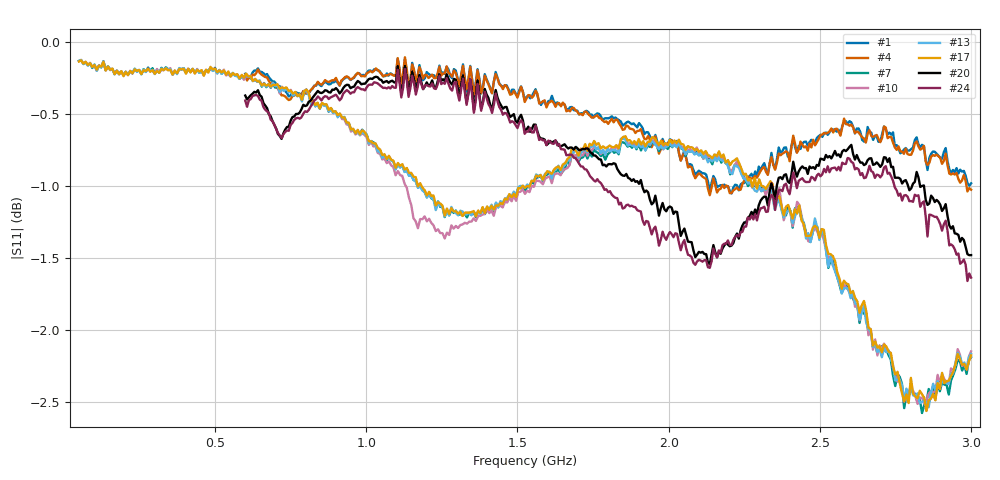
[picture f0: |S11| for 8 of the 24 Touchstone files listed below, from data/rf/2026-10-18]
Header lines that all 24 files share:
! NanoVNA-F_V2 fw 0.6.0 SN 4A3639384505514B
! points 401, avg 4
# HZ S RI R 50
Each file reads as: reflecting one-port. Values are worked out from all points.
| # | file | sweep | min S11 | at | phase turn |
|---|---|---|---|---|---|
| 1 | air_1.s1p | 600 MHz to 3 GHz | -1.1 dB | 2.208 GHz | -694 deg |
| 2 | air_2.s1p | 600 MHz to 3 GHz | -1.0 dB | 2.202 GHz | -693 deg |
| 3 | air_3.s1p | 600 MHz to 3 GHz | -1.0 dB | 2.208 GHz | -693 deg |
| 4 | air_4.s1p | 600 MHz to 3 GHz | -1.1 dB | 2.136 GHz | -693 deg |
| 5 | h5_air_1.s1p | 50 MHz to 3 GHz | -2.6 dB | 2.838 GHz | -771 deg |
| 6 | h5_air_2.s1p | 50 MHz to 3 GHz | -2.5 dB | 2.838 GHz | -770 deg |
| 7 | h5_air_3.s1p | 50 MHz to 3 GHz | -2.6 dB | 2.838 GHz | -770 deg |
| 8 | h5_nanox_tamp_A_1.s1p | 50 MHz to 3 GHz | -2.5 dB | 2.838 GHz | -771 deg |
| 9 | h5_nanox_tamp_A_2.s1p | 50 MHz to 3 GHz | -2.5 dB | 2.845 GHz | -771 deg |
| 10 | h5_nanox_tamp_A_3.s1p | 50 MHz to 3 GHz | -2.5 dB | 2.823 GHz | -771 deg |
| 11 | h5_nanox_tamp_A_4.s1p | 50 MHz to 3 GHz | -2.5 dB | 2.853 GHz | -772 deg |
| 12 | h5_nanox_tamp_A_5.s1p | 50 MHz to 3 GHz | -2.5 dB | 2.853 GHz | -770 deg |
| 13 | h5_nanox_u1_ref_A_1.s1p | 50 MHz to 3 GHz | -2.5 dB | 2.86 GHz | -771 deg |
| 14 | h5_nanox_u1_ref_A_2.s1p | 50 MHz to 3 GHz | -2.6 dB | 2.845 GHz | -771 deg |
| 15 | h5_nanox_u1_ref_A_3.s1p | 50 MHz to 3 GHz | -2.5 dB | 2.779 GHz | -772 deg |
| 16 | h5_nanox_u1_ref_A_4.s1p | 50 MHz to 3 GHz | -2.5 dB | 2.779 GHz | -772 deg |
| 17 | h5_nanox_u1_ref_A_5.s1p | 50 MHz to 3 GHz | -2.6 dB | 2.853 GHz | -770 deg |
| 18 | nanox_tamp_A_1.s1p | 600 MHz to 3 GHz | -1.4 dB | 2.136 GHz | -696 deg |
| 19 | nanox_tamp_A_2.s1p | 600 MHz to 3 GHz | -1.7 dB | 2.088 GHz | -697 deg |
| 20 | nanox_tamp_A_3.s1p | 600 MHz to 3 GHz | -1.5 dB | 2.136 GHz | -697 deg |
| 21 | nanox_u1_ref_A_1.s1p | 600 MHz to 3 GHz | -1.2 dB | 2.988 GHz | -695 deg |
| 22 | nanox_u1_ref_A_2.s1p | 600 MHz to 3 GHz | -1.5 dB | 2.136 GHz | -695 deg |
| 23 | nanox_u1_ref_A_3.s1p | 600 MHz to 3 GHz | -1.5 dB | 2.136 GHz | -695 deg |
| 24 | nanox_u1_ref_A_4.s1p | 600 MHz to 3 GHz | -1.7 dB | 2.988 GHz | -697 deg |
